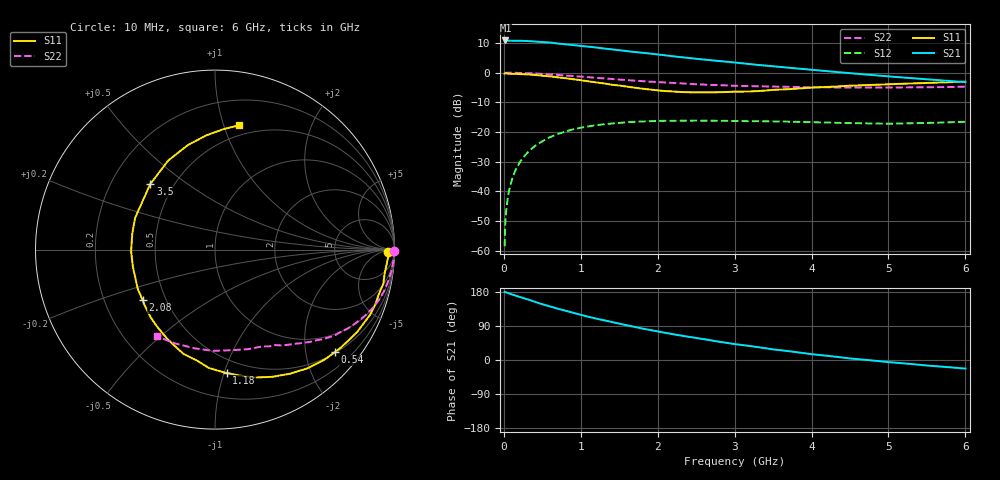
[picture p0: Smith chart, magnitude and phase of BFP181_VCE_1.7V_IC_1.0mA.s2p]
! Infineon Technologies  Discrete & RF Semiconductors
! BFP181
! VCE = 1.7 V,  IC =  1.0 mA
! Common Emitter S-Parameters:  Jan 2016
# GHz  S  MA  R  50
!  f  S11  S21  S12  S22
! GHz  MAG  ANG  MAG  ANG  MAG  ANG  MAG  ANG
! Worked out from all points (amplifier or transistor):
!   210 points, 10 MHz to 6 GHz, reference 50 ohm
!   highest |S21| = 10.8 dB at 20 MHz (marker M1)
!   |S21| within 3 dB of that: start of sweep to 1.401 GHz
!   unconditionally stable (mu >= 1): 2.981 GHz to end of sweep
!   at 185 MHz: K = 0.07, MSG = 21.0 dB, |S12| = -31.2 dB
!   at 1.52 GHz: K = 0.54, MSG = 12.2 dB, |S12| = -16.9 dB
!   at 6 GHz: K = 1.29, MAG = 3.5 dB, |S12| = -16.6 dB
!   S11 on the Smith chart (normalised r, x): 10 MHz: 46, -19; 540 MHz: 0.52, -2.61; 1.18 GHz: 0.39, -1.02; 2.08 GHz: 0.37, -0.27; 3.5 GHz: 0.37, +0.37; 6 GHz: 0.41, +1.13
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0.01  0.9634 -0.9  3.471 179.6  0.0012 79.9  0.999 -0.3
0.02  0.9686 -1.5  3.482 179.2  0.0031 91.7  0.991 -0.7
0.04  0.9651 -2.8  3.468 177.6  0.0061 90.5  0.9946 -1.4
0.06  0.9613 -4.4  3.456 176.1  0.0091 88.3  0.9963 -2.2
0.15  0.9569 -11.5  3.429 170.1  0.0227 81.6  0.9928 -5.3
0.3  0.937 -22.9  3.418 160.7  0.044 74.9  0.9803 -10.6
0.4  0.9155 -30.2  3.35 153.7  0.0577 70.4  0.9694 -13.9
0.54  0.8782 -40.7  3.243 144.8  0.0748 63.2  0.9468 -18.5
0.8  0.8079 -58.9  3.017 129.8  0.102 52.4  0.8968 -26.0
1.02  0.7395 -73.8  2.802 118.2  0.1195 44.1  0.8531 -31.5
1.18  0.6904 -84.6  2.665 110.2  0.1293 38.5  0.8232 -35.2
1.58  0.5866 -111.4  2.318 92.3  0.1454 27.7  0.752 -42.6
1.8  0.5372 -126.8  2.161 82.9  0.1509 22.9  0.7191 -46.1
2.02  0.5003 -141.3  2.009 74.6  0.154 18.4  0.6906 -49.4
2.08  0.492 -145.1  1.963 72.5  0.1544 17.3  0.6834 -50.4
2.4  0.4686 -166.7  1.778 61.3  0.1564 11.8  0.6502 -55.2
2.8  0.4695 169.1  1.57 48.2  0.1556 6.7  0.6173 -60.9
3.1  0.479 153.4  1.436 39.5  0.1529 3.7  0.5964 -65.4
3.5  0.5133 134.6  1.281 28.0  0.1518 0.6  0.5844 -71.7
4.1  0.5668 114.8  1.09 13.4  0.1454 -2.3  0.5656 -83.0
5.1  0.6447 92.4  0.845 -7.2  0.1388 -2.3  0.5614 -104.2
6  0.7055 79.1  0.692 -22.7  0.1487 0.2  0.5816 -124.0
